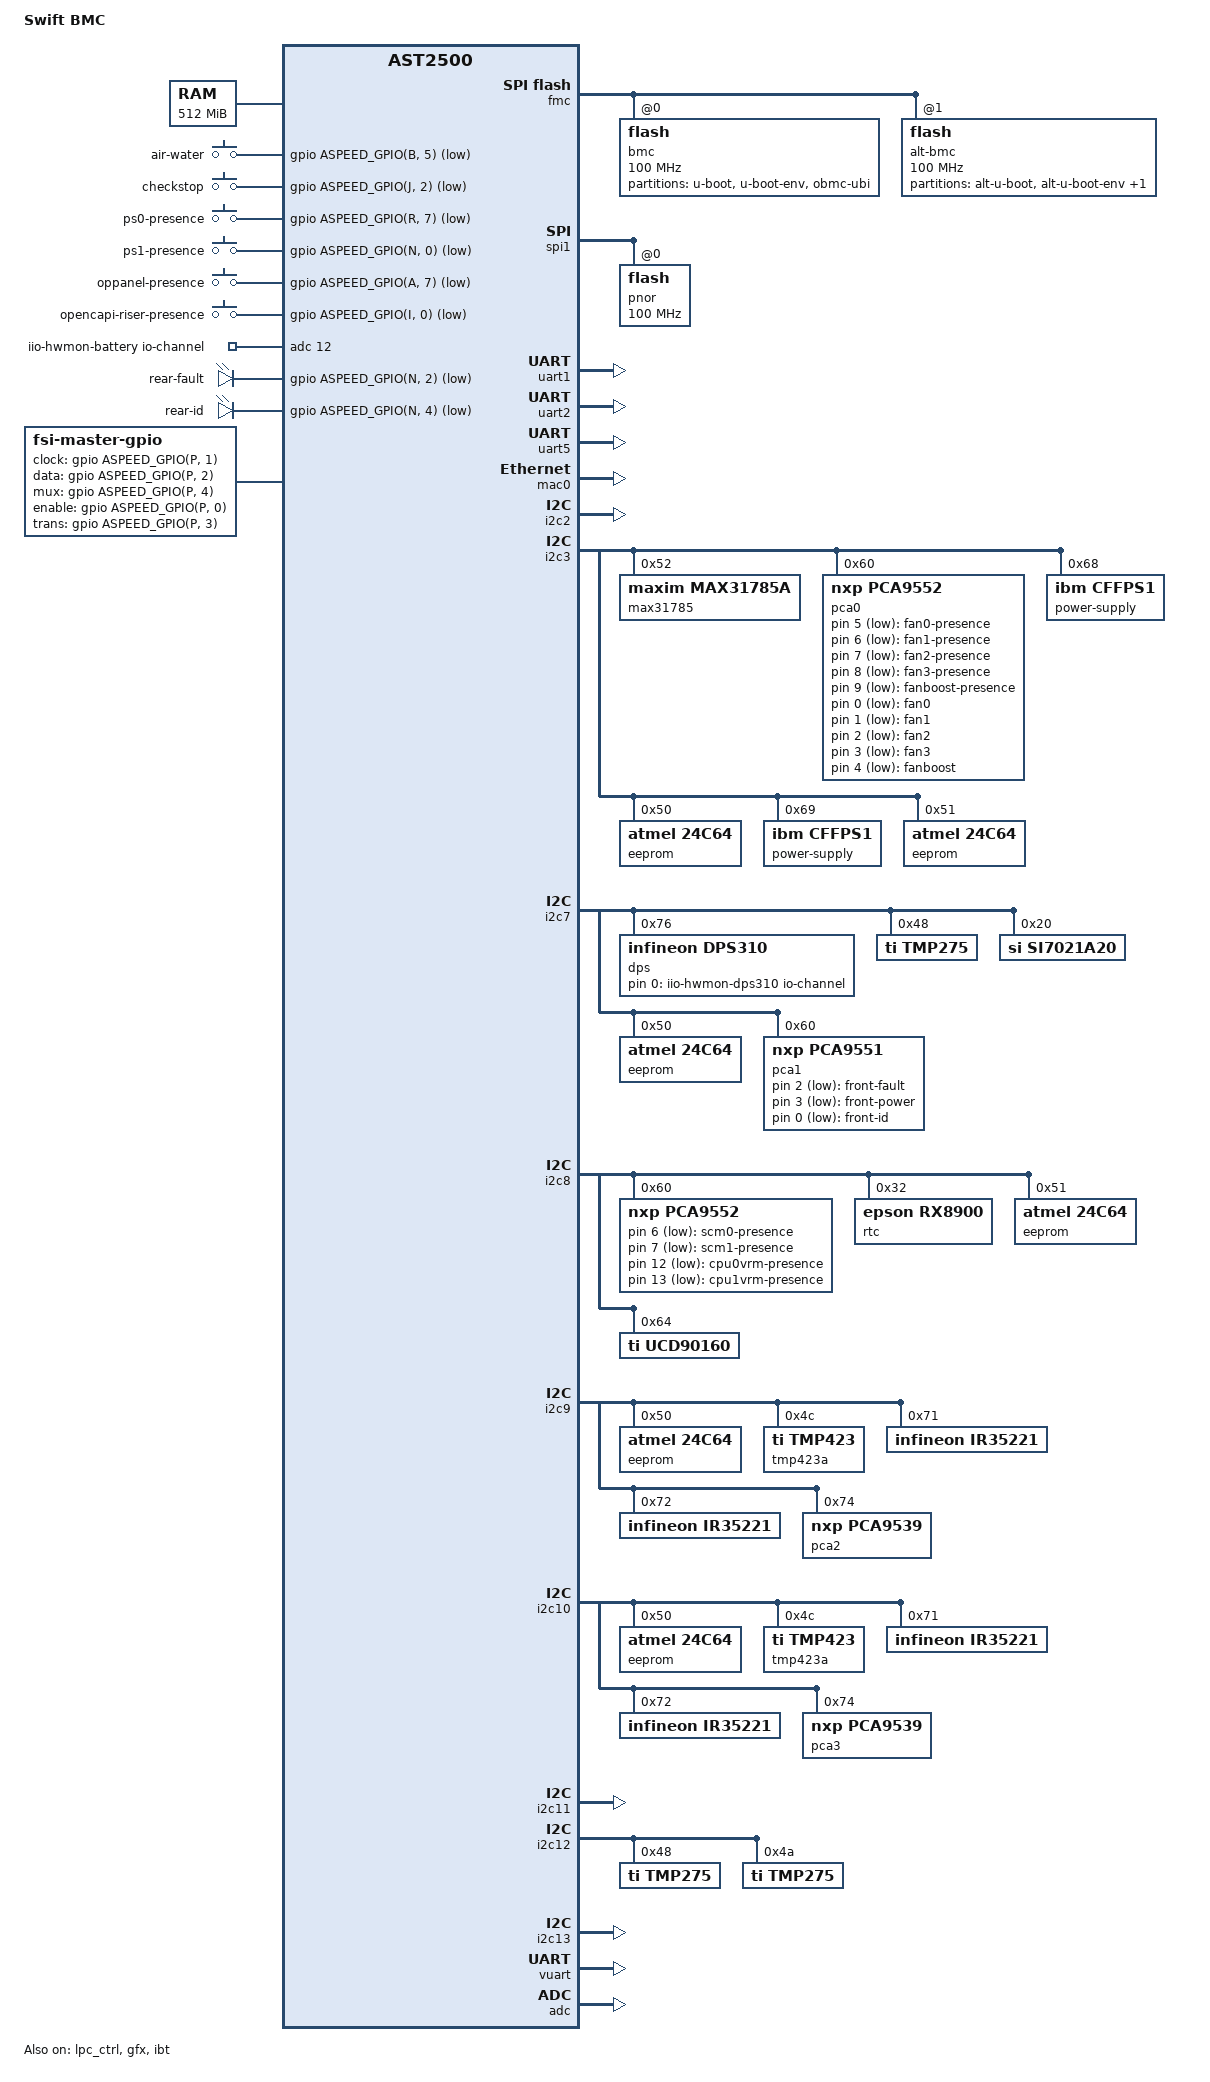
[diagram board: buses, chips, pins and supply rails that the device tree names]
// SPDX-License-Identifier: GPL-2.0+
/dts-v1/;
#include "aspeed-g5.dtsi"
#include <dt-bindings/gpio/aspeed-gpio.h>
#include <dt-bindings/leds/leds-pca955x.h>

/ {
	model = "Swift BMC";
	compatible = "ibm,swift-bmc", "aspeed,ast2500";

	chosen {
		stdout-path = &uart5;
		bootargs = "console=ttyS4,115200 earlyprintk";
	};

	memory@80000000 {
		reg = <0x80000000 0x20000000>;
	};

	reserved-memory {
		#address-cells = <1>;
		#size-cells = <1>;
		ranges;

		flash_memory: region@98000000 {
			no-map;
			reg = <0x98000000 0x04000000>; /* 64M */
		};

		gfx_memory: framebuffer {
			size = <0x01000000>;
			alignment = <0x01000000>;
			compatible = "shared-dma-pool";
			reusable;
		};
	};

	gpio-keys {
		compatible = "gpio-keys";

		air-water {
			label = "air-water";
			gpios = <&gpio ASPEED_GPIO(B, 5) GPIO_ACTIVE_LOW>;
			linux,code = <ASPEED_GPIO(B, 5)>;
		};

		checkstop {
			label = "checkstop";
			gpios = <&gpio ASPEED_GPIO(J, 2) GPIO_ACTIVE_LOW>;
			linux,code = <ASPEED_GPIO(J, 2)>;
		};

		ps0-presence {
			label = "ps0-presence";
			gpios = <&gpio ASPEED_GPIO(R, 7) GPIO_ACTIVE_LOW>;
			linux,code = <ASPEED_GPIO(R, 7)>;
		};

		ps1-presence {
			label = "ps1-presence";
			gpios = <&gpio ASPEED_GPIO(N, 0) GPIO_ACTIVE_LOW>;
			linux,code = <ASPEED_GPIO(N, 0)>;
		};

		oppanel-presence {
			label = "oppanel-presence";
			gpios = <&gpio ASPEED_GPIO(A, 7) GPIO_ACTIVE_LOW>;
			linux,code = <ASPEED_GPIO(A, 7)>;
		};

		opencapi-riser-presence {
			label = "opencapi-riser-presence";
			gpios = <&gpio ASPEED_GPIO(I, 0) GPIO_ACTIVE_LOW>;
			linux,code = <ASPEED_GPIO(I, 0)>;
		};
	};

	iio-hwmon-battery {
		compatible = "iio-hwmon";
		io-channels = <&adc 12>;
	};

	gpio-keys-polled {
		compatible = "gpio-keys-polled";
		#address-cells = <1>;
		#size-cells = <0>;
		poll-interval = <1000>;

		scm0-presence {
			label = "scm0-presence";
			gpios = <&pca9552 6 GPIO_ACTIVE_LOW>;
			linux,code = <6>;
		};

		scm1-presence {
			label = "scm1-presence";
			gpios = <&pca9552 7 GPIO_ACTIVE_LOW>;
			linux,code = <7>;
		};

		cpu0vrm-presence {
			label = "cpu0vrm-presence";
			gpios = <&pca9552 12 GPIO_ACTIVE_LOW>;
			linux,code = <12>;
		};

		cpu1vrm-presence {
			label = "cpu1vrm-presence";
			gpios = <&pca9552 13 GPIO_ACTIVE_LOW>;
			linux,code = <13>;
		};

		fan0-presence {
			label = "fan0-presence";
			gpios = <&pca0 5 GPIO_ACTIVE_LOW>;
			linux,code = <5>;
		};

		fan1-presence {
			label = "fan1-presence";
			gpios = <&pca0 6 GPIO_ACTIVE_LOW>;
			linux,code = <6>;
		};

		fan2-presence {
			label = "fan2-presence";
			gpios = <&pca0 7 GPIO_ACTIVE_LOW>;
			linux,code = <7>;
		};

		fan3-presence {
			label = "fan3-presence";
			gpios = <&pca0 8 GPIO_ACTIVE_LOW>;
			linux,code = <8>;
		};

		fanboost-presence {
			label = "fanboost-presence";
			gpios = <&pca0 9 GPIO_ACTIVE_LOW>;
			linux,code = <9>;
		};
	};

	leds {
		compatible = "gpio-leds";

		fan0 {
			retain-state-shutdown;
			default-state = "keep";
			gpios = <&pca0 0 GPIO_ACTIVE_LOW>;
		};

		fan1 {
			retain-state-shutdown;
			default-state = "keep";
			gpios = <&pca0 1 GPIO_ACTIVE_LOW>;
		};

		fan2 {
			retain-state-shutdown;
			default-state = "keep";
			gpios = <&pca0 2 GPIO_ACTIVE_LOW>;
		};

		fan3 {
			retain-state-shutdown;
			default-state = "keep";
			gpios = <&pca0 3 GPIO_ACTIVE_LOW>;
		};

		fanboost {
			retain-state-shutdown;
			default-state = "keep";
			gpios = <&pca0 4 GPIO_ACTIVE_LOW>;
		};

		front-fault {
			retain-state-shutdown;
			default-state = "keep";
			gpios = <&pca1 2 GPIO_ACTIVE_LOW>;
		};

		front-power {
			retain-state-shutdown;
			default-state = "keep";
			gpios = <&pca1 3 GPIO_ACTIVE_LOW>;
		};

		front-id {
			retain-state-shutdown;
			default-state = "keep";
			gpios = <&pca1 0 GPIO_ACTIVE_LOW>;
		};

		rear-fault {
			gpios = <&gpio ASPEED_GPIO(N, 2) GPIO_ACTIVE_LOW>;
		};

		rear-id {
			gpios = <&gpio ASPEED_GPIO(N, 4) GPIO_ACTIVE_LOW>;
		};
	};

	fsi: gpio-fsi {
		compatible = "fsi-master-gpio", "fsi-master";
		#address-cells = <2>;
		#size-cells = <0>;
		no-gpio-delays;

		clock-gpios = <&gpio ASPEED_GPIO(P, 1) GPIO_ACTIVE_HIGH>;
		data-gpios = <&gpio ASPEED_GPIO(P, 2) GPIO_ACTIVE_HIGH>;
		mux-gpios = <&gpio ASPEED_GPIO(P, 4) GPIO_ACTIVE_HIGH>;
		enable-gpios = <&gpio ASPEED_GPIO(P, 0) GPIO_ACTIVE_HIGH>;
		trans-gpios = <&gpio ASPEED_GPIO(P, 3) GPIO_ACTIVE_HIGH>;
	};

	iio-hwmon-dps310 {
		compatible = "iio-hwmon";
		io-channels = <&dps 0>;
	};

};

&fmc {
	status = "okay";

	flash@0 {
		status = "okay";
		label = "bmc";
		m25p,fast-read;
		spi-max-frequency = <100000000>;
		partitions {
			#address-cells = < 1 >;
			#size-cells = < 1 >;
			compatible = "fixed-partitions";
			u-boot@0 {
				reg = < 0 0x60000 >;
				label = "u-boot";
			};
			u-boot-env@60000 {
				reg = < 0x60000 0x20000 >;
				label = "u-boot-env";
			};
			obmc-ubi@80000 {
				reg = < 0x80000 0x7F80000>;
				label = "obmc-ubi";
			};
		};
	};

	flash@1 {
		status = "okay";
		label = "alt-bmc";
		m25p,fast-read;
		spi-max-frequency = <100000000>;
		partitions {
			#address-cells = < 1 >;
			#size-cells = < 1 >;
			compatible = "fixed-partitions";
			u-boot@0 {
				reg = < 0 0x60000 >;
				label = "alt-u-boot";
			};
			u-boot-env@60000 {
				reg = < 0x60000 0x20000 >;
				label = "alt-u-boot-env";
			};
			obmc-ubi@80000 {
				reg = < 0x80000 0x7F80000>;
				label = "alt-obmc-ubi";
			};
		};
	};
};

&spi1 {
	status = "okay";
	pinctrl-names = "default";
	pinctrl-0 = <&pinctrl_spi1_default>;

	flash@0 {
		status = "okay";
		label = "pnor";
		m25p,fast-read;
		spi-max-frequency = <100000000>;
	};
};

&uart1 {
	/* Rear RS-232 connector */
	status = "okay";
	pinctrl-names = "default";
	pinctrl-0 = <&pinctrl_txd1_default
			&pinctrl_rxd1_default
			&pinctrl_nrts1_default
			&pinctrl_ndtr1_default
			&pinctrl_ndsr1_default
			&pinctrl_ncts1_default
			&pinctrl_ndcd1_default
			&pinctrl_nri1_default>;
};

&uart2 {
	/* APSS */
	status = "okay";
	pinctrl-names = "default";
	pinctrl-0 = <&pinctrl_txd2_default &pinctrl_rxd2_default>;
};

&uart5 {
	status = "okay";
};

&lpc_ctrl {
	status = "okay";
	memory-region = <&flash_memory>;
	flash = <&spi1>;
};

&mac0 {
	status = "okay";
	pinctrl-names = "default";
	pinctrl-0 = <&pinctrl_rmii1_default>;
	use-ncsi;
};

&i2c2 {
	status = "okay";

	/* MUX ->
	 *    Samtec 1
	 *    Samtec 2
	 */
};

&i2c3 {
	status = "okay";

	max31785@52 {
		compatible = "maxim,max31785a";
		reg = <0x52>;
		#address-cells = <1>;
		#size-cells = <0>;

		fan@0 {
			compatible = "pmbus-fan";
			reg = <0>;
			tach-pulses = <2>;
			maxim,fan-rotor-input = "tach";
			maxim,fan-pwm-freq = <25000>;
			maxim,fan-no-watchdog;
			maxim,fan-no-fault-ramp;
			maxim,fan-ramp = <2>;
			maxim,fan-fault-pin-mon;
		};

		fan@1 {
			compatible = "pmbus-fan";
			reg = <1>;
			tach-pulses = <2>;
			maxim,fan-rotor-input = "tach";
			maxim,fan-pwm-freq = <25000>;
			maxim,fan-no-watchdog;
			maxim,fan-no-fault-ramp;
			maxim,fan-ramp = <2>;
			maxim,fan-fault-pin-mon;
		};

		fan@2 {
			compatible = "pmbus-fan";
			reg = <2>;
			tach-pulses = <2>;
			maxim,fan-rotor-input = "tach";
			maxim,fan-pwm-freq = <25000>;
			maxim,fan-no-watchdog;
			maxim,fan-no-fault-ramp;
			maxim,fan-ramp = <2>;
			maxim,fan-fault-pin-mon;
		};

		fan@3 {
			compatible = "pmbus-fan";
			reg = <3>;
			tach-pulses = <2>;
			maxim,fan-rotor-input = "tach";
			maxim,fan-pwm-freq = <25000>;
			maxim,fan-no-watchdog;
			maxim,fan-no-fault-ramp;
			maxim,fan-ramp = <2>;
			maxim,fan-fault-pin-mon;
		};

		fan@4 {
			compatible = "pmbus-fan";
			reg = <4>;
			tach-pulses = <2>;
			maxim,fan-rotor-input = "tach";
			maxim,fan-pwm-freq = <25000>;
			maxim,fan-no-watchdog;
			maxim,fan-no-fault-ramp;
			maxim,fan-ramp = <2>;
			maxim,fan-fault-pin-mon;
		};
	};

	pca0: pca9552@60 {
		compatible = "nxp,pca9552";
		reg = <0x60>;
		#address-cells = <1>;
		#size-cells = <0>;

		gpio-controller;
		#gpio-cells = <2>;

		gpio@0 {
			reg = <0>;
			type = <PCA955X_TYPE_GPIO>;
		};

		gpio@1 {
			reg = <1>;
			type = <PCA955X_TYPE_GPIO>;
		};

		gpio@2 {
			reg = <2>;
			type = <PCA955X_TYPE_GPIO>;
		};

		gpio@3 {
			reg = <3>;
			type = <PCA955X_TYPE_GPIO>;
		};

		gpio@4 {
			reg = <4>;
			type = <PCA955X_TYPE_GPIO>;
		};

		gpio@5 {
			reg = <5>;
			type = <PCA955X_TYPE_GPIO>;
		};

		gpio@6 {
			reg = <6>;
			type = <PCA955X_TYPE_GPIO>;
		};

		gpio@7 {
			reg = <7>;
			type = <PCA955X_TYPE_GPIO>;
		};

		gpio@8 {
			reg = <8>;
			type = <PCA955X_TYPE_GPIO>;
		};

		gpio@9 {
			reg = <9>;
			type = <PCA955X_TYPE_GPIO>;
		};

		gpio@10 {
			reg = <10>;
			type = <PCA955X_TYPE_GPIO>;
		};

		gpio@11 {
			reg = <11>;
			type = <PCA955X_TYPE_GPIO>;
		};

		gpio@12 {
			reg = <12>;
			type = <PCA955X_TYPE_GPIO>;
		};

		gpio@13 {
			reg = <13>;
			type = <PCA955X_TYPE_GPIO>;
		};

		gpio@14 {
			reg = <14>;
			type = <PCA955X_TYPE_GPIO>;
		};

		gpio@15 {
			reg = <15>;
			type = <PCA955X_TYPE_GPIO>;
		};
	};

	power-supply@68 {
		compatible = "ibm,cffps1";
		reg = <0x68>;
	};

	eeprom@50 {
		compatible = "atmel,24c64";
		reg = <0x50>;
	};

	power-supply@69 {
		compatible = "ibm,cffps1";
		reg = <0x69>;
	};

	eeprom@51 {
		compatible = "atmel,24c64";
		reg = <0x51>;
	};
};

&i2c7 {
	status = "okay";

	dps: dps310@76 {
		compatible = "infineon,dps310";
		reg = <0x76>;
		#io-channel-cells = <0>;
	};

	tmp275@48 {
		compatible = "ti,tmp275";
		reg = <0x48>;
	};

	si7021a20@20 {
		compatible = "si,si7021a20";
		reg = <0x20>;
	};

	eeprom@50 {
		compatible = "atmel,24c64";
		reg = <0x50>;
	};

	pca1: pca9551@60 {
		compatible = "nxp,pca9551";
		reg = <0x60>;
		#address-cells = <1>;
		#size-cells = <0>;

		gpio-controller;
		#gpio-cells = <2>;

		gpio@0 {
			reg = <0>;
			type = <PCA955X_TYPE_GPIO>;
		};

		gpio@1 {
			reg = <1>;
			type = <PCA955X_TYPE_GPIO>;
		};

		gpio@2 {
			reg = <2>;
			type = <PCA955X_TYPE_GPIO>;
		};

		gpio@3 {
			reg = <3>;
			type = <PCA955X_TYPE_GPIO>;
		};

		gpio@4 {
			reg = <4>;
			type = <PCA955X_TYPE_GPIO>;
		};

		gpio@5 {
			reg = <5>;
			type = <PCA955X_TYPE_GPIO>;
		};

		gpio@6 {
			reg = <6>;
			type = <PCA955X_TYPE_GPIO>;
		};

		gpio@7 {
			reg = <7>;
			type = <PCA955X_TYPE_GPIO>;
		};
	};
};

&i2c8 {
	status = "okay";

	pca9552: pca9552@60 {
		compatible = "nxp,pca9552";
		reg = <0x60>;
		#address-cells = <1>;
		#size-cells = <0>;
		gpio-controller;
		#gpio-cells = <2>;

		gpio-line-names = "PS_SMBUS_RESET_N", "APSS_RESET_N",
			"GPU0_TH_OVERT_N_BUFF",	"GPU1_TH_OVERT_N_BUFF",
			"GPU2_TH_OVERT_N_BUFF", "GPU3_TH_OVERT_N_BUFF",
			"P9_SCM0_PRES",	"P9_SCM1_PRES",
			"GPU0_PWR_GOOD_BUFF", "GPU1_PWR_GOOD_BUFF",
			"GPU2_PWR_GOOD_BUFF", "GPU3_PWR_GOOD_BUFF",
			"PRESENT_VRM_CP0_N", "PRESENT_VRM_CP1_N",
			"12V_BREAKER_FLT_N", "THROTTLE_UNLATCHED_N";

		gpio@0 {
			reg = <0>;
			type = <PCA955X_TYPE_GPIO>;
		};

		gpio@1 {
			reg = <1>;
			type = <PCA955X_TYPE_GPIO>;
		};

		gpio@2 {
			reg = <2>;
			type = <PCA955X_TYPE_GPIO>;
		};

		gpio@3 {
			reg = <3>;
			type = <PCA955X_TYPE_GPIO>;
		};

		gpio@4 {
			reg = <4>;
			type = <PCA955X_TYPE_GPIO>;
		};

		gpio@5 {
			reg = <5>;
			type = <PCA955X_TYPE_GPIO>;
		};

		gpio@6 {
			reg = <6>;
			type = <PCA955X_TYPE_GPIO>;
		};

		gpio@7 {
			reg = <7>;
			type = <PCA955X_TYPE_GPIO>;
		};

		gpio@8 {
			reg = <8>;
			type = <PCA955X_TYPE_GPIO>;
		};

		gpio@9 {
			reg = <9>;
			type = <PCA955X_TYPE_GPIO>;
		};

		gpio@10 {
			reg = <10>;
			type = <PCA955X_TYPE_GPIO>;
		};

		gpio@11 {
			reg = <11>;
			type = <PCA955X_TYPE_GPIO>;
		};

		gpio@12 {
			reg = <12>;
			type = <PCA955X_TYPE_GPIO>;
		};

		gpio@13 {
			reg = <13>;
			type = <PCA955X_TYPE_GPIO>;
		};

		gpio@14 {
			reg = <14>;
			type = <PCA955X_TYPE_GPIO>;
		};

		gpio@15 {
			reg = <15>;
			type = <PCA955X_TYPE_GPIO>;
		};
	};

	rtc@32 {
		compatible = "epson,rx8900";
		reg = <0x32>;
	};

	eeprom@51 {
		compatible = "atmel,24c64";
		reg = <0x51>;
	};

	ucd90160@64 {
		compatible = "ti,ucd90160";
		reg = <0x64>;
	};
};

&i2c9 {
	status = "okay";

	eeprom@50 {
		compatible = "atmel,24c64";
		reg = <0x50>;
	};

	tmp423a@4c {
		compatible = "ti,tmp423";
		reg = <0x4c>;
	};

	ir35221@71 {
		compatible = "infineon,ir35221";
		reg = <0x71>;
	};

	ir35221@72 {
		compatible = "infineon,ir35221";
		reg = <0x72>;
	};

	pca2: pca9539@74 {
		compatible = "nxp,pca9539";
		reg = <0x74>;
		#address-cells = <1>;
		#size-cells = <0>;
		gpio-controller;
		#gpio-cells = <2>;

		gpio@0 {
			reg = <0>;
		};

		gpio@1 {
			reg = <1>;
		};

		gpio@2 {
			reg = <2>;
		};

		gpio@3 {
			reg = <3>;
		};

		gpio@4 {
			reg = <4>;
		};

		gpio@5 {
			reg = <5>;
		};

		gpio@6 {
			reg = <6>;
		};

		gpio@7 {
			reg = <7>;
		};

		gpio@8 {
			reg = <8>;
		};

		gpio@9 {
			reg = <9>;
		};

		gpio@10 {
			reg = <10>;
		};

		gpio@11 {
			reg = <11>;
		};

		gpio@12 {
			reg = <12>;
		};

		gpio@13 {
			reg = <13>;
		};

		gpio@14 {
			reg = <14>;
		};

		gpio@15 {
			reg = <15>;
		};
	};
};

&i2c10 {
	status = "okay";

	eeprom@50 {
		compatible = "atmel,24c64";
		reg = <0x50>;
	};

	tmp423a@4c {
		compatible = "ti,tmp423";
		reg = <0x4c>;
	};

	ir35221@71 {
		compatible = "infineon,ir35221";
		reg = <0x71>;
	};

	ir35221@72 {
		compatible = "infineon,ir35221";
		reg = <0x72>;
	};

	pca3: pca9539@74 {
		compatible = "nxp,pca9539";
		reg = <0x74>;
		#address-cells = <1>;
		#size-cells = <0>;
		gpio-controller;
		#gpio-cells = <2>;

		gpio@0 {
			reg = <0>;
		};

		gpio@1 {
			reg = <1>;
		};

		gpio@2 {
			reg = <2>;
		};

		gpio@3 {
			reg = <3>;
		};

		gpio@4 {
			reg = <4>;
		};

		gpio@5 {
			reg = <5>;
		};

		gpio@6 {
			reg = <6>;
		};

		gpio@7 {
			reg = <7>;
		};

		gpio@8 {
			reg = <8>;
		};

		gpio@9 {
			reg = <9>;
		};

		gpio@10 {
			reg = <10>;
		};

		gpio@11 {
			reg = <11>;
		};

		gpio@12 {
			reg = <12>;
		};

		gpio@13 {
			reg = <13>;
		};

		gpio@14 {
			reg = <14>;
		};

		gpio@15 {
			reg = <15>;
		};
	};
};

&i2c11 {
	/* MUX
	 *   -> PCIe Slot 0
	 *   -> PCIe Slot 1
	 *   -> PCIe Slot 2
	 *   -> PCIe Slot 3
	 */
	status = "okay";
};

&i2c12 {
	status = "okay";

	tmp275@48 {
		compatible = "ti,tmp275";
		reg = <0x48>;
	};

	tmp275@4a {
		compatible = "ti,tmp275";
		reg = <0x4a>;
	};
};

&i2c13 {
	status = "okay";
};

&vuart {
	status = "okay";
};

&gfx {
	status = "okay";
	memory-region = <&gfx_memory>;
};

&pinctrl {
	aspeed,external-nodes = <&gfx &lhc>;
};

&wdt1 {
	aspeed,reset-type = "none";
	aspeed,external-signal;
	aspeed,ext-push-pull;
	aspeed,ext-active-high;

	pinctrl-names = "default";
	pinctrl-0 = <&pinctrl_wdtrst1_default>;
};

&wdt2 {
	aspeed,alt-boot;
};

&ibt {
	status = "okay";
};

&adc {
	status = "okay";
};

#include "ibm-power9-dual.dtsi"
